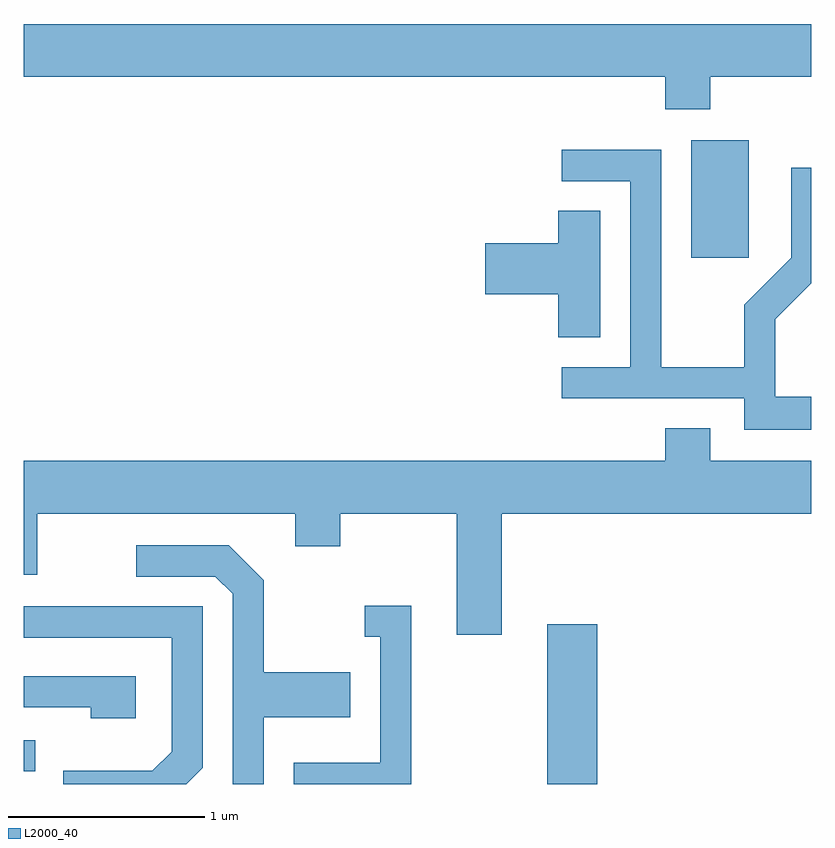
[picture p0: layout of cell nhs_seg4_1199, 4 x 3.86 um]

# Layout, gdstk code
import gdstk
lib = gdstk.Library(unit=1e-6, precision=1e-09)
def R(c, l, rs):  # rectangles x0, y0, x1, y1
    for r in rs: c.add(gdstk.rectangle(r[:2], r[2:], *l))
def P(c, l, *ps):  # polygons
    for p in ps: c.add(gdstk.Polygon(p, *l))
L2000_40 = (2000, 40)

nhs_seg4_1199 = lib.new_cell('nhs_seg4_1199')
R(nhs_seg4_1199, L2000_40, [(222.271,1339.982,222.524,1340.794), (219.611,1340.046,219.668,1340.204), (223.001,1342.656,223.294,1343.254)])
P(nhs_seg4_1199, L2000_40, [(223.099,1343.576),(223.611,1343.576),(223.611,1343.844),(219.611,1343.844),(219.611,1343.576),(222.871,1343.576),(222.871,1343.411),(223.099,1343.411)],
  [(223.611,1341.949),(223.429,1341.949),(223.429,1342.344),(223.611,1342.526),(223.611,1343.113),(223.511,1343.113),(223.511,1342.657),(223.271,1342.417),(223.271,1342.099),(222.849,1342.099),(222.849,1343.204),(222.343,1343.204),(222.343,1343.046),(222.691,1343.046),(222.691,1342.099),(222.343,1342.099),(222.343,1341.941),(223.271,1341.941),(223.271,1341.781),(223.611,1341.781)],
  [(222.539,1342.894),(222.326,1342.894),(222.326,1342.729),(221.956,1342.729),(221.956,1342.471),(222.326,1342.471),(222.326,1342.251),(222.539,1342.251)],
  [(222.039,1341.356),(223.611,1341.356),(223.611,1341.624),(223.099,1341.624),(223.099,1341.789),(222.871,1341.789),(222.871,1341.624),(219.611,1341.624),(219.611,1341.046),(219.679,1341.046),(219.679,1341.356),(220.991,1341.356),(220.991,1341.191),(221.219,1341.191),(221.219,1341.356),(221.811,1341.356),(221.811,1340.741),(222.039,1340.741)],
  [(220.829,1340.321),(221.269,1340.321),(221.269,1340.549),(220.829,1340.549),(220.829,1341.017),(220.652,1341.194),(220.183,1341.194),(220.183,1341.036),(220.584,1341.036),(220.671,1340.949),(220.671,1339.982),(220.829,1339.982)],
  [(221.579,1340.889),(221.343,1340.889),(221.343,1340.731),(221.421,1340.731),(221.421,1340.089),(220.981,1340.089),(220.981,1339.982),(221.579,1339.982)],
  [(220.519,1340.064),(220.519,1340.884),(219.611,1340.884),(219.611,1340.726),(220.361,1340.726),(220.361,1340.147),(220.264,1340.049),(219.811,1340.049),(219.811,1339.982),(220.437,1339.982)],
  [(220.179,1340.529),(219.611,1340.529),(219.611,1340.371),(219.951,1340.371),(219.951,1340.316),(220.179,1340.316)])

lib.write_gds('nhs_seg4_1199.gds')
